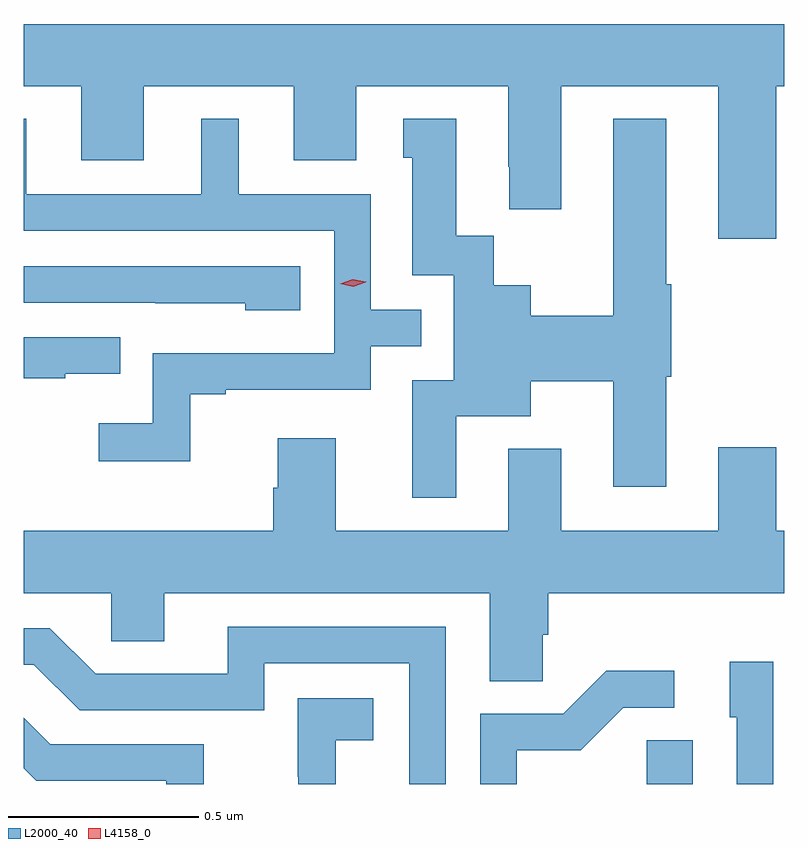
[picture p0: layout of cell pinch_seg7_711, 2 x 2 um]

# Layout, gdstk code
import gdstk
lib = gdstk.Library(unit=1e-6, precision=1e-09)
def R(c, l, rs):  # rectangles x0, y0, x1, y1
    for r in rs: c.add(gdstk.rectangle(r[:2], r[2:], *l))
def P(c, l, *ps):  # polygons
    for p in ps: c.add(gdstk.Polygon(p, *l))
L2000_40 = (2000, 40)
L4158_0 = (4158, 0)

pinch_seg7_711 = lib.new_cell('pinch_seg7_711')
R(pinch_seg7_711, L2000_40, [(217.977,1026.754,218.098,1026.869)])
P(pinch_seg7_711, L2000_40, [(218.318,1028.588),(218.339,1028.588),(218.339,1028.752),(216.339,1028.752),(216.339,1028.588),(216.491,1028.588),(216.491,1028.394),(216.655,1028.394),(216.655,1028.588),(217.049,1028.588),(217.049,1028.394),(217.213,1028.394),(217.213,1028.588),(217.613,1028.588),(217.613,1028.377),(217.616,1028.377),(217.616,1028.265),(217.753,1028.265),(217.753,1028.588),(218.165,1028.588),(218.165,1028.187),(218.318,1028.187)],
  [(217.477,1027.721),(217.672,1027.721),(217.672,1027.813),(217.889,1027.813),(217.889,1027.536),(218.029,1027.536),(218.029,1027.824),(218.042,1027.824),(218.042,1028.068),(218.029,1028.068),(218.029,1028.503),(217.889,1028.503),(217.889,1027.985),(217.672,1027.985),(217.672,1028.065),(217.575,1028.065),(217.575,1028.195),(217.477,1028.195),(217.477,1028.503),(217.337,1028.503),(217.337,1028.4),(217.361,1028.4),(217.361,1028.091),(217.47,1028.091),(217.47,1027.815),(217.361,1027.815),(217.361,1027.506),(217.477,1027.506)],
  [(216.777,1027.779),(216.871,1027.779),(216.871,1027.791),(217.251,1027.791),(217.251,1027.905),(217.384,1027.905),(217.384,1028.001),(217.251,1028.001),(217.251,1028.304),(216.904,1028.304),(216.904,1028.503),(216.806,1028.503),(216.806,1028.304),(216.346,1028.304),(216.346,1028.503),(216.339,1028.503),(216.339,1028.208),(217.155,1028.208),(217.155,1027.887),(216.678,1027.887),(216.678,1027.702),(216.537,1027.702),(216.537,1027.603),(216.777,1027.603)],
  [(217.066,1028.115),(216.339,1028.115),(216.339,1028.019),(216.685,1028.019),(216.685,1028.018),(216.921,1028.018),(216.921,1028),(217.066,1028)],
  [(216.449,1027.832),(216.593,1027.832),(216.593,1027.929),(216.339,1027.929),(216.339,1027.821),(216.449,1027.821)],
  [(217.704,1027.147),(217.718,1027.147),(217.718,1027.256),(218.339,1027.256),(218.339,1027.42),(218.318,1027.42),(218.318,1027.639),(218.165,1027.639),(218.165,1027.42),(217.753,1027.42),(217.753,1027.636),(217.613,1027.636),(217.613,1027.42),(217.159,1027.42),(217.159,1027.663),(217.007,1027.663),(217.007,1027.533),(216.995,1027.533),(216.995,1027.42),(216.339,1027.42),(216.339,1027.256),(216.57,1027.256),(216.57,1027.129),(216.709,1027.129),(216.709,1027.256),(217.565,1027.256),(217.565,1027.024),(217.704,1027.024)],
  [(217.449,1027.167),(216.875,1027.167),(216.875,1027.044),(216.528,1027.044),(216.408,1027.164),(216.339,1027.164),(216.339,1027.068),(216.366,1027.068),(216.486,1026.948),(216.972,1026.948),(216.972,1027.071),(217.353,1027.071),(217.353,1026.754),(217.449,1026.754)],
  [(218.31,1027.075),(218.195,1027.075),(218.195,1026.93),(218.214,1026.93),(218.214,1026.754),(218.31,1026.754)],
  [(217.635,1026.843),(217.804,1026.843),(217.915,1026.954),(218.05,1026.954),(218.05,1027.052),(217.871,1027.052),(217.758,1026.939),(217.539,1026.939),(217.539,1026.754),(217.635,1026.754)],
  [(217.16,1026.869),(217.258,1026.869),(217.258,1026.979),(217.06,1026.979),(217.06,1026.773),(217.061,1026.773),(217.061,1026.754),(217.16,1026.754)],
  [(216.813,1026.858),(216.409,1026.858),(216.339,1026.928),(216.339,1026.795),(216.372,1026.762),(216.714,1026.762),(216.714,1026.754),(216.813,1026.754)])
P(pinch_seg7_711, L4158_0, [(217.206,1028.061),(217.171,1028.069),(217.171,1028.069),(217.171,1028.069),(217.204,1028.081),(217.239,1028.074),(217.24,1028.074),(217.239,1028.073)])

lib.write_gds('pinch_seg7_711.gds')
